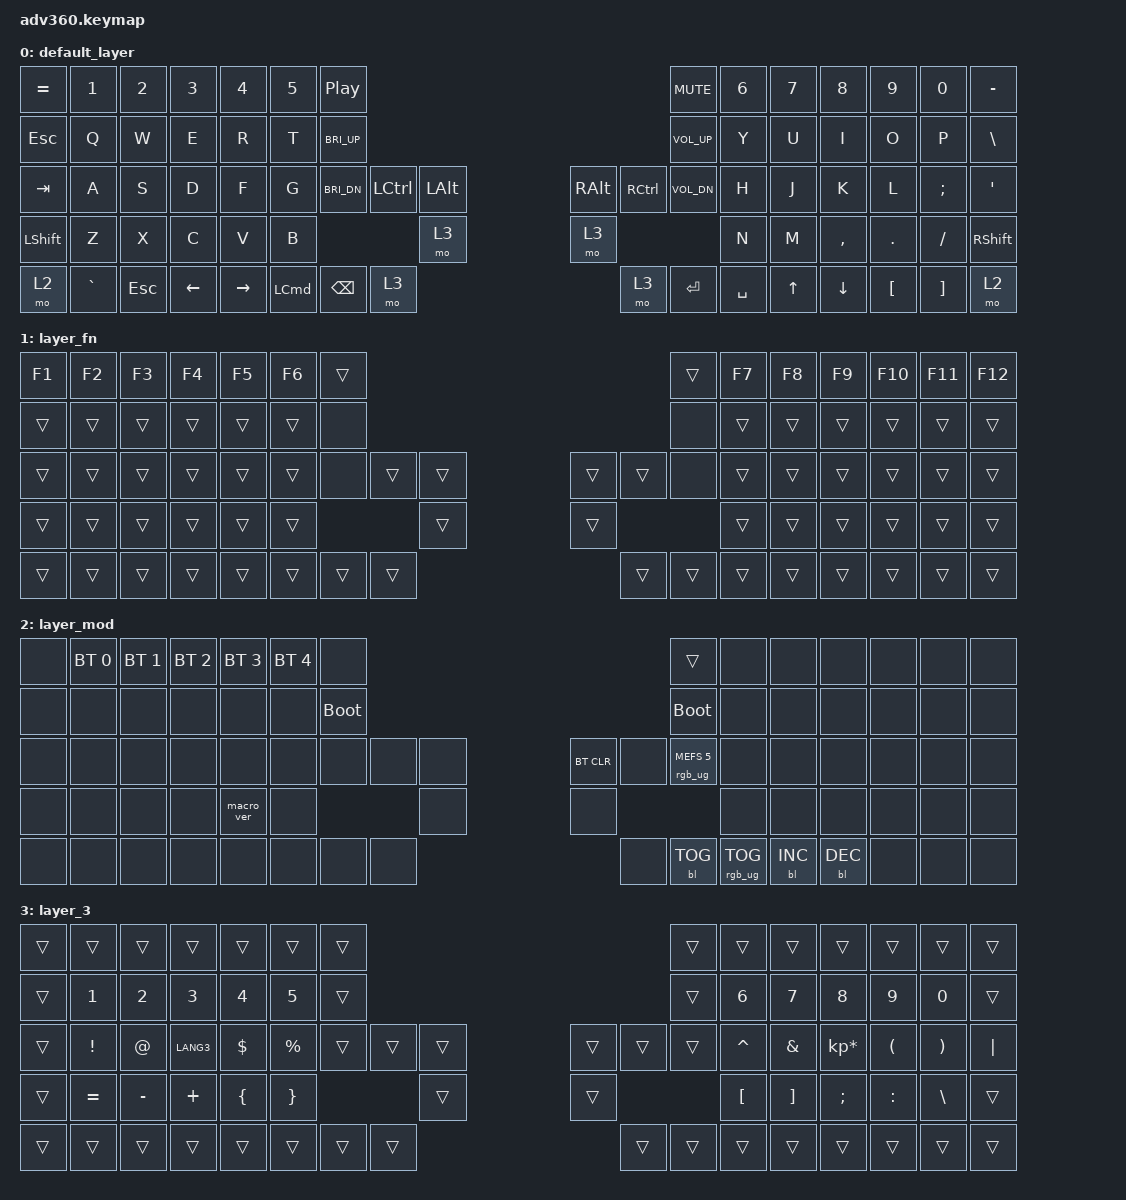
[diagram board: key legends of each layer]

/*
 * Copyright (c) 2020 The ZMK Contributors
 *
 * SPDX-License-Identifier: MIT
 */


/* THIS FILE WAS GENERATED!
 *
 * This file was generated automatically. You may or may not want to
 * edit it directly.
 */

#include <behaviors.dtsi>
#include <dt-bindings/zmk/keys.h>
#include <dt-bindings/zmk/bt.h>
#include <dt-bindings/zmk/rgb.h>
#include <dt-bindings/zmk/backlight.h>

/ {
  behaviors {
    #include "macros.dtsi"
    #include "version.dtsi"

    hm: homerow_mods {
        compatible = "zmk,behavior-hold-tap";
        label = "HOMEROW_MODS";
        #binding-cells = <2>;
        tapping-term-ms = <200>;
        quick_tap_ms = <175>;
        flavor = "tap-preferred";
        bindings = <&kp>, <&kp>;
    };
  };

    keymap {
        compatible = "zmk,keymap";


        default_layer {
            bindings = <
 &kp EQUAL     &kp N1      &kp N2    &kp N3     &kp N4  &kp N5            &kp C_PLAY_PAUSE                                                                  &kp C_MUTE  &kp N6  &kp N7     &kp N8    &kp N9    &kp N0  &kp MINUS
   &kp ESC      &kp Q       &kp W     &kp E      &kp R   &kp T                &kp C_BRI_UP                                                                &kp C_VOL_UP   &kp Y   &kp U      &kp I     &kp O     &kp P   &kp BSLH
   &kp TAB      &kp A       &kp S     &kp D      &kp F   &kp G                &kp C_BRI_DN      &kp LCTRL  &kp LALT                  &kp RALT  &kp RCTRL  &kp C_VOL_DN   &kp H   &kp J      &kp K     &kp L  &kp SEMI    &kp SQT
 &kp LSHFT      &kp Z       &kp X     &kp C      &kp V   &kp B                                                &mo 3                     &mo 3                            &kp N   &kp M  &kp COMMA   &kp DOT  &kp FSLH  &kp RSHFT
     &mo 2  &kp GRAVE  &kp ESCAPE  &kp LEFT  &kp RIGHT                            &kp LCMD  &kp BACKSPACE     &mo 3                     &mo 3  &kp ENTER     &kp SPACE          &kp UP   &kp DOWN  &kp LBKT  &kp RBKT      &mo 2
            >;
        };

        layer_fn {
            bindings = <
 &kp F1  &kp F2  &kp F3  &kp F4  &kp F5  &kp F6            &trans                                                  &trans  &kp F7  &kp F8  &kp F9  &kp F10  &kp F11  &kp F12
 &trans  &trans  &trans  &trans  &trans  &trans             &none                                                   &none  &trans  &trans  &trans   &trans   &trans   &trans
 &trans  &trans  &trans  &trans  &trans  &trans             &none  &trans  &trans                  &trans  &trans   &none  &trans  &trans  &trans   &trans   &trans   &trans
 &trans  &trans  &trans  &trans  &trans  &trans                            &trans                  &trans                  &trans  &trans  &trans   &trans   &trans   &trans
 &trans  &trans  &trans  &trans  &trans                    &trans  &trans  &trans                  &trans  &trans  &trans          &trans  &trans   &trans   &trans   &trans
            >;
        };

        layer_mod {
            bindings = <
  &none  &bt BT_SEL 0  &bt BT_SEL 1  &bt BT_SEL 2  &bt BT_SEL 3  &bt BT_SEL 4                  &none                                                                          &trans   &none       &none       &none   &none   &none   &none
  &none         &none         &none         &none         &none         &none            &bootloader                                                                     &bootloader   &none       &none       &none   &none   &none   &none
  &none         &none         &none         &none         &none         &none                  &none   &none   &none                  &bt BT_CLR       &none  &rgb_ug RGB_MEFS_CMD 5   &none       &none       &none   &none   &none   &none
  &none         &none         &none         &none    &macro_ver         &none                                  &none                       &none                                       &none       &none       &none   &none   &none   &none
  &none         &none         &none         &none         &none                                &none   &none   &none                       &none  &bl BL_TOG         &rgb_ug RGB_TOG          &bl BL_INC  &bl BL_DEC   &none   &none   &none
            >;
        };

        layer_3 {
            bindings = <
 &trans     &trans     &trans     &trans    &trans       &trans            &trans                                                  &trans     &trans    &trans           &trans     &trans    &trans    &trans
 &trans     &kp N1     &kp N2     &kp N3    &kp N4       &kp N5            &trans                                                  &trans     &kp N6    &kp N7           &kp N8     &kp N9    &kp N0    &trans
 &trans   &kp EXCL     &kp AT  &kp LANG3  &kp DLLR  &kp PERCENT            &trans  &trans  &trans                  &trans  &trans  &trans  &kp CARET  &kp AMPS  &kp KP_MULTIPLY   &kp LPAR  &kp RPAR  &kp PIPE
 &trans  &kp EQUAL  &kp MINUS   &kp PLUS  &kp LBRC     &kp RBRC                            &trans                  &trans                   &kp LBKT  &kp RBKT         &kp SEMI  &kp COLON  &kp BSLH    &trans
 &trans     &trans     &trans     &trans    &trans                         &trans  &trans  &trans                  &trans  &trans  &trans               &trans           &trans     &trans    &trans    &trans
            >;
        };

    };
};
